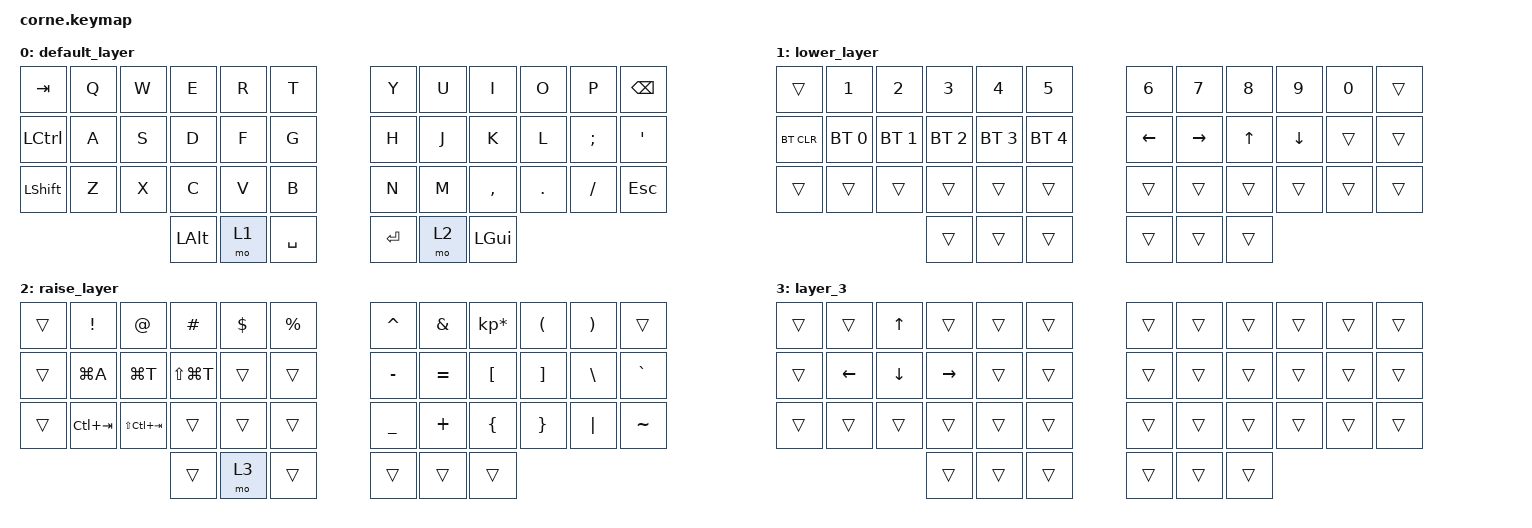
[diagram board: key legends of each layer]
/*
 * Copyright (c) 2020 The ZMK Contributors
 *
 * SPDX-License-Identifier: MIT
 */

#include <behaviors.dtsi>
#include <dt-bindings/zmk/bt.h>
#include <dt-bindings/zmk/keys.h>

/ {
    macros {
        change_tab_forward: change_tab_forward {
            compatible = "zmk,behavior-macro";
            label = "CHANGE_TAB_FORWARD";
            #binding-cells = <0>;
            bindings =
                <&macro_press>,
                <&kp LEFT_CONTROL>,
                <&macro_tap>,
                <&kp TAB>,
                <&macro_release>,
                <&kp LEFT_CONTROL>;
        };
        change_tab_backward: change_tab_backward {
            compatible = "zmk,behavior-macro";
            label = "CHANGE_TAB_BACKWARD";
            #binding-cells = <0>;
            bindings =
                <&macro_press>,
                <&kp LS(LEFT_CONTROL)>,
                <&macro_tap>,
                <&kp TAB>,
                <&macro_release>,
                <&kp LS(LEFT_CONTROL)>;
        };
    };

    behaviors {
        new_tab_b: new_tab_b {
            compatible = "zmk,behavior-tap-dance";
            label = "NEW_TAB_B";
            #binding-cells = <0>;
            tapping-term-ms = <200>;
            bindings =
                <&kp T>,
                <&change_tab_forward>;
        };
    };

    combos {
        compatible = "zmk,combos";

        next_tab {
            bindings = <&change_tab_forward>;
            key-positions = <2 3>;
        };

        prev_tab {
            bindings = <&change_tab_backward>;
            key-positions = <2 1>;
        };

        new_combo {
            bindings = <&mo 3>;
            key-positions = <41 40>;
        };
    };

    keymap {
        compatible = "zmk,keymap";

        default_layer {
            // -----------------------------------------------------------------------------------------
            // |  TAB |  Q  |  W  |  E  |  R  |  T  |   |  Y  |  U   |  I  |  O  |  P  | BKSP |
            // | CTRL |  A  |  S  |  D  |  F  |  G  |   |  H  |  J   |  K  |  L  |  ;  |  '   |
            // | SHFT |  Z  |  X  |  C  |  V  |  B  |   |  N  |  M   |  ,  |  .  |  /  | ESC  |
            //                    | GUI | LWR | SPC |   | ENT | RSE  | ALT |

            bindings = <
  &kp TAB  &kp Q  &kp W         &kp E  &kp R      &kp T      &kp Y  &kp U         &kp I    &kp O     &kp P  &kp BSPC
&kp LCTRL  &kp A  &kp S         &kp D  &kp F      &kp G      &kp H  &kp J         &kp K    &kp L  &kp SEMI   &kp SQT
&kp LSHFT  &kp Z  &kp X         &kp C  &kp V      &kp B      &kp N  &kp M     &kp COMMA  &kp DOT  &kp FSLH   &kp ESC
                         &kp LEFT_ALT  &mo 1  &kp SPACE    &kp RET  &mo 2  &kp LEFT_GUI
            >;
        };

        lower_layer {
            // -----------------------------------------------------------------------------------------
            // |  TAB |  1  |  2  |  3  |  4  |  5  |   |  6  |  7  |  8  |  9  |  0  | BKSP |
            // | BTCLR| BT1 | BT2 | BT3 | BT4 | BT5 |   | LFT | DWN |  UP | RGT |     |      |
            // | SHFT |     |     |     |     |     |   |     |     |     |     |     |      |
            //                    | GUI |     | SPC |   | ENT |     | ALT |

            bindings = <
    &trans        &kp N1        &kp N2        &kp N3        &kp N4        &kp N5      &kp N6     &kp N7  &kp N8    &kp N9  &kp N0  &trans
&bt BT_CLR  &bt BT_SEL 0  &bt BT_SEL 1  &bt BT_SEL 2  &bt BT_SEL 3  &bt BT_SEL 4    &kp LEFT  &kp RIGHT  &kp UP  &kp DOWN  &trans  &trans
    &trans        &trans        &trans        &trans        &trans        &trans      &trans     &trans  &trans    &trans  &trans  &trans
                                              &trans        &trans        &trans      &trans     &trans  &trans
            >;
        };

        raise_layer {
            // -----------------------------------------------------------------------------------------
            // |  TAB |  !  |  @  |  #  |  $  |  %  |   |  ^  |  &  |  *  |  (  |  )  | BKSP |
            // | CTRL |     |     |     |     |     |   |  -  |  =  |  [  |  ]  |  \  |  `   |
            // | SHFT |     |     |     |     |     |   |  _  |  +  |  {  |  }  | "|" |  ~   |
            //                    | GUI |     | SPC |   | ENT |     | ALT |

            bindings = <
&trans     &kp EXCL           &kp AT       &kp HASH  &kp DLLR  &kp PRCNT    &kp CARET   &kp AMPS  &kp KP_MULTIPLY  &kp LPAR  &kp RPAR     &trans
&trans    &kp LG(A)        &kp LG(T)  &kp LS(LG(T))    &trans     &trans    &kp MINUS  &kp EQUAL         &kp LBKT  &kp RBKT  &kp BSLH  &kp GRAVE
&trans  &kp LC(TAB)  &kp LS(LC(TAB))         &trans    &trans     &trans    &kp UNDER   &kp PLUS         &kp LBRC  &kp RBRC  &kp PIPE  &kp TILDE
                                             &trans     &mo 3     &trans       &trans     &trans           &trans
            >;
        };

        layer_3 {
            bindings = <
&trans          &trans    &kp UP_ARROW           &trans  &trans  &trans    &trans  &trans  &trans  &trans  &trans  &trans
&trans  &kp LEFT_ARROW  &kp DOWN_ARROW  &kp RIGHT_ARROW  &trans  &trans    &trans  &trans  &trans  &trans  &trans  &trans
&trans          &trans          &trans           &trans  &trans  &trans    &trans  &trans  &trans  &trans  &trans  &trans
                                                 &trans  &trans  &trans    &trans  &trans  &trans
            >;
        };
    };
};
